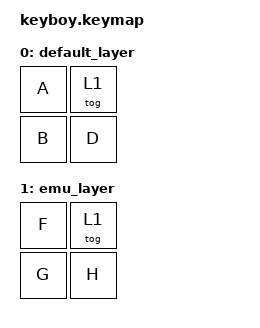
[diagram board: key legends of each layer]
#include <behaviors.dtsi>
#include <dt-bindings/zmk/keys.h>
#include <dt-bindings/zmk/bt.h>
#include <dt-bindings/zmk/outputs.h>
//#include <locale/keys_sv.h>
//#include "elpekenin/behaviors.dtsi"

/ {
    keymap {
        compatible = "zmk,keymap";

        default_layer {
            bindings = <
				&kp A &tog 1
				&kp B &kp D
            >;
        };
        emu_layer {
            bindings = <
				&kp F &tog 1
				&kp G &kp H
            >;
        };
    };
};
